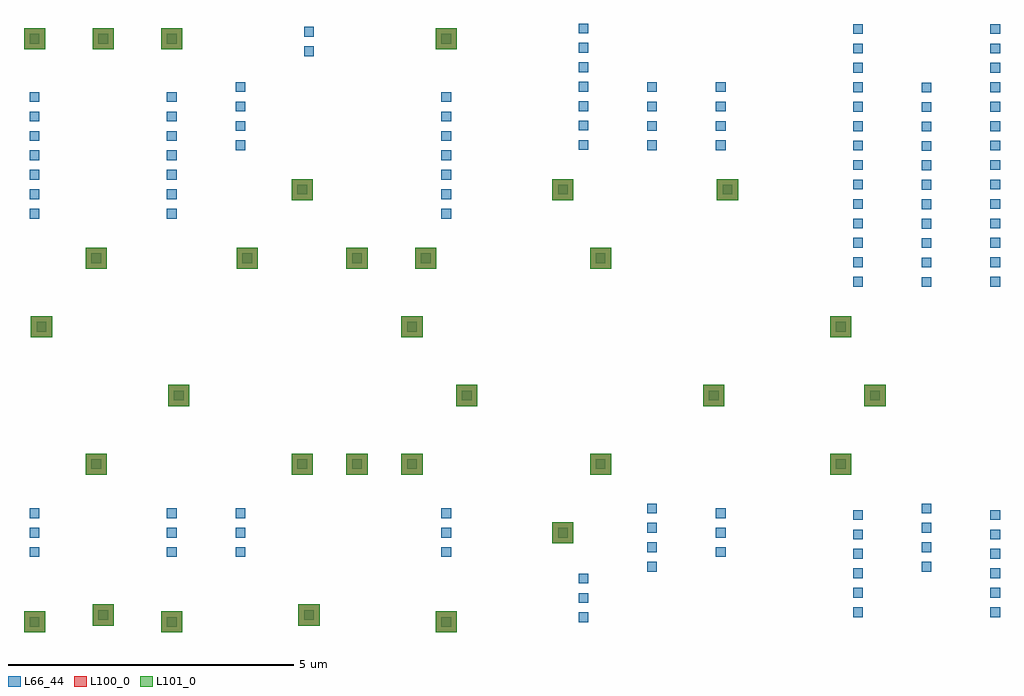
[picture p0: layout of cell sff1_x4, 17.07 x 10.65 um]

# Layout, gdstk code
import gdstk
lib = gdstk.Library(unit=1e-6, precision=1e-09)
def R(c, l, rs):  # rectangles x0, y0, x1, y1
    for r in rs: c.add(gdstk.rectangle(r[:2], r[2:], *l))
def A(c, l, x, y, w, h, nx, ny, dx, dy):  # array of equal rectangles
    R(c, l, [(x+i*dx, y+j*dy, x+i*dx+w, y+j*dy+h) for i in range(nx) for j in range(ny)])
L66_44 = (66, 44)
L100_0 = (100, 0)
L101_0 = (101, 0)

sff1_x4 = lib.new_cell('sff1_x4')
A(sff1_x4, L66_44, 10.115, 0.835, 0.17, 0.17, 1, 3, 0, 0.34)
A(sff1_x4, L66_44, 14.915, 0.925, 0.17, 0.17, 1, 6, 0, 0.34)
A(sff1_x4, L66_44, 17.315, 0.925, 0.17, 0.17, 1, 6, 0, 0.34)
A(sff1_x4, L66_44, 11.315, 1.72, 0.17, 0.17, 1, 4, 0, 0.34)
A(sff1_x4, L66_44, 16.115, 1.72, 0.17, 0.17, 1, 4, 0, 0.34)
A(sff1_x4, L66_44, 0.515, 1.975, 0.17, 0.17, 1, 3, 0, 0.34)
A(sff1_x4, L66_44, 2.915, 1.975, 0.17, 0.17, 1, 3, 0, 0.34)
A(sff1_x4, L66_44, 4.115, 1.975, 0.17, 0.17, 1, 3, 0, 0.34)
A(sff1_x4, L66_44, 7.715, 1.975, 0.17, 0.17, 1, 3, 0, 0.34)
A(sff1_x4, L66_44, 12.515, 1.975, 0.17, 0.17, 1, 3, 0, 0.34)
A(sff1_x4, L66_44, 5.195, 3.515, 0.17, 0.17, 3, 1, 0.96, 0)
A(sff1_x4, L66_44, 16.115, 6.7, 0.17, 0.17, 1, 11, 0, 0.34)
A(sff1_x4, L66_44, 14.915, 6.705, 0.17, 0.17, 1, 14, 0, 0.34)
A(sff1_x4, L66_44, 17.315, 6.705, 0.17, 0.17, 1, 14, 0, 0.34)
A(sff1_x4, L66_44, 0.515, 7.895, 0.17, 0.17, 1, 7, 0, 0.34)
A(sff1_x4, L66_44, 2.915, 7.895, 0.17, 0.17, 1, 7, 0, 0.34)
A(sff1_x4, L66_44, 7.715, 7.895, 0.17, 0.17, 1, 7, 0, 0.34)
A(sff1_x4, L66_44, 4.115, 9.09, 0.17, 0.17, 1, 4, 0, 0.34)
A(sff1_x4, L66_44, 11.315, 9.09, 0.17, 0.17, 1, 4, 0, 0.34)
A(sff1_x4, L66_44, 12.515, 9.09, 0.17, 0.17, 1, 4, 0, 0.34)
A(sff1_x4, L66_44, 10.115, 9.095, 0.17, 0.17, 1, 7, 0, 0.34)
A(sff1_x4, L66_44, 0.515, 10.955, 0.17, 0.17, 3, 1, 1.2, 0)
R(sff1_x4, L66_44, [(0.515,0.755,0.685,0.925), (2.915,0.755,3.085,0.925), (7.715,0.755,7.885,0.925), (1.715,0.875,1.885,1.045), (5.315,0.875,5.485,1.045), (9.755,2.315,9.925,2.485), (1.595,3.515,1.765,3.685), (10.415,3.515,10.585,3.685), (14.615,3.515,14.785,3.685), (3.035,4.715,3.205,4.885), (8.075,4.715,8.245,4.885), (12.395,4.715,12.565,4.885), (15.215,4.715,15.385,4.885), (0.635,5.915,0.805,6.085), (7.115,5.915,7.285,6.085), (14.615,5.915,14.785,6.085), (1.595,7.115,1.765,7.285), (4.235,7.115,4.405,7.285), (6.155,7.115,6.325,7.285), (7.355,7.115,7.525,7.285), (10.415,7.115,10.585,7.285), (5.195,8.315,5.365,8.485), (9.755,8.315,9.925,8.485), (12.635,8.315,12.805,8.485), (5.315,10.735,5.485,10.905), (7.715,10.955,7.885,11.125), (5.315,11.075,5.485,11.245)])
A(sff1_x4, L100_0, 5.095, 3.415, 0.37, 0.37, 3, 1, 0.96, 0)
A(sff1_x4, L100_0, 0.415, 10.855, 0.37, 0.37, 3, 1, 1.2, 0)
R(sff1_x4, L100_0, [(0.415,0.655,0.785,1.025), (2.815,0.655,3.185,1.025), (7.615,0.655,7.985,1.025), (1.615,0.775,1.985,1.145), (5.215,0.775,5.585,1.145), (9.655,2.215,10.025,2.585), (1.495,3.415,1.865,3.785), (10.315,3.415,10.685,3.785), (14.515,3.415,14.885,3.785), (2.935,4.615,3.305,4.985), (7.975,4.615,8.345,4.985), (12.295,4.615,12.665,4.985), (15.115,4.615,15.485,4.985), (0.535,5.815,0.905,6.185), (7.015,5.815,7.385,6.185), (14.515,5.815,14.885,6.185), (1.495,7.015,1.865,7.385), (4.135,7.015,4.505,7.385), (6.055,7.015,6.425,7.385), (7.255,7.015,7.625,7.385), (10.315,7.015,10.685,7.385), (5.095,8.215,5.465,8.585), (9.655,8.215,10.025,8.585), (12.535,8.215,12.905,8.585), (7.615,10.855,7.985,11.225)])
A(sff1_x4, L101_0, 5.095, 3.415, 0.37, 0.37, 3, 1, 0.96, 0)
A(sff1_x4, L101_0, 0.415, 10.855, 0.37, 0.37, 3, 1, 1.2, 0)
R(sff1_x4, L101_0, [(0.415,0.655,0.785,1.025), (2.815,0.655,3.185,1.025), (7.615,0.655,7.985,1.025), (1.615,0.775,1.985,1.145), (5.215,0.775,5.585,1.145), (9.655,2.215,10.025,2.585), (1.495,3.415,1.865,3.785), (10.315,3.415,10.685,3.785), (14.515,3.415,14.885,3.785), (2.935,4.615,3.305,4.985), (7.975,4.615,8.345,4.985), (12.295,4.615,12.665,4.985), (15.115,4.615,15.485,4.985), (0.535,5.815,0.905,6.185), (7.015,5.815,7.385,6.185), (14.515,5.815,14.885,6.185), (1.495,7.015,1.865,7.385), (4.135,7.015,4.505,7.385), (6.055,7.015,6.425,7.385), (7.255,7.015,7.625,7.385), (10.315,7.015,10.685,7.385), (5.095,8.215,5.465,8.585), (9.655,8.215,10.025,8.585), (12.535,8.215,12.905,8.585), (7.615,10.855,7.985,11.225)])

lib.write_gds('sff1_x4.gds')
